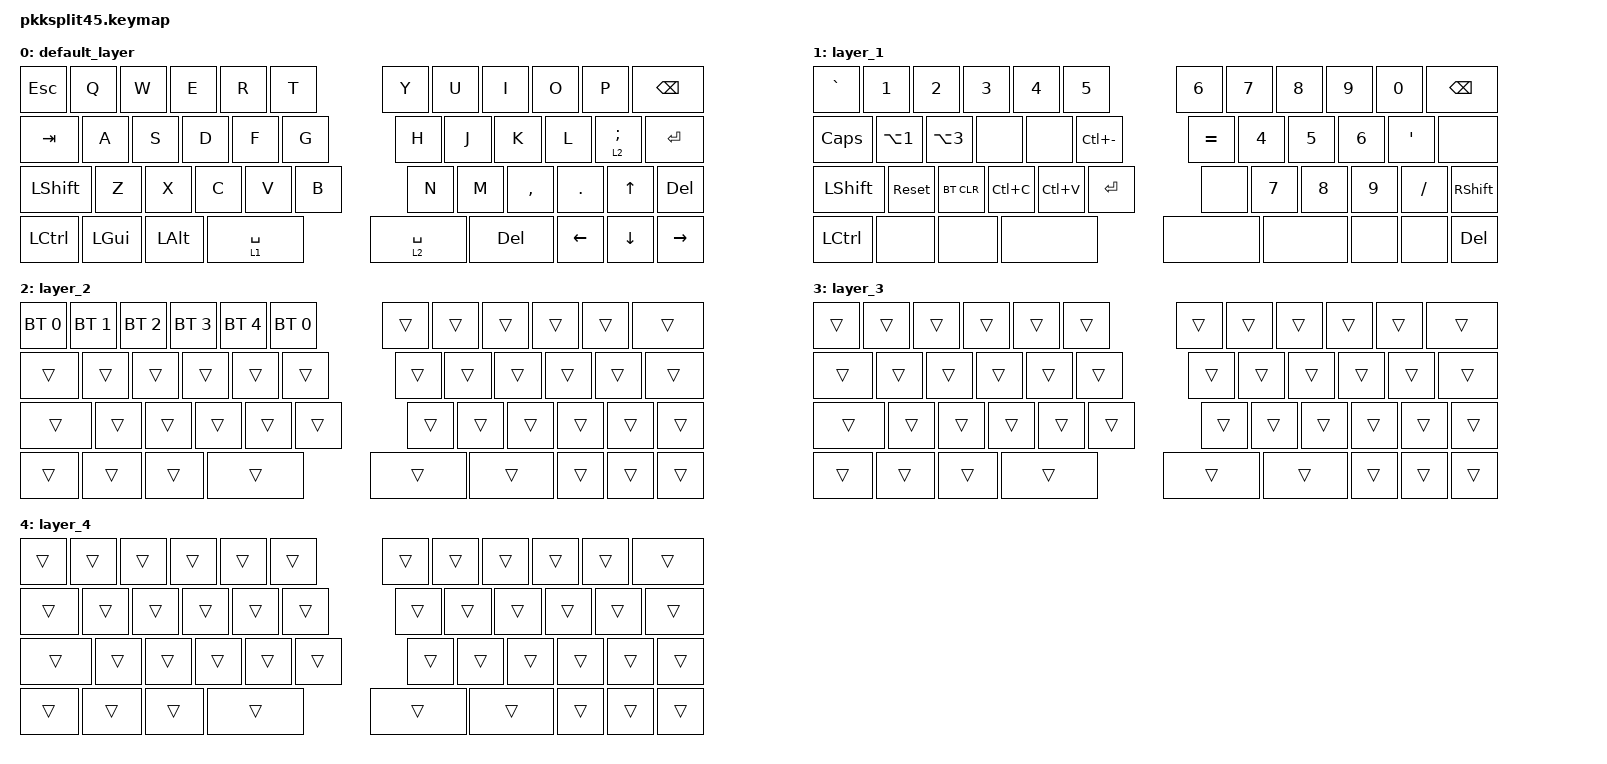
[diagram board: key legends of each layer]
#include <dt-bindings/zmk/mouse.h>
#include <behaviors.dtsi>
#include <dt-bindings/zmk/bt.h>
#include <dt-bindings/zmk/keys.h>

/ {
    combos {
        compatible = "zmk,combos";

        ctrlN {
            bindings = <&kp LC(N)>;
            key-positions = <13 14>;
        };

        desk {
            bindings = <&kp LG(D)>;
            key-positions = <14 15>;
        };

        wine {
            bindings = <&kp LG(E)>;
            key-positions = <15 16>;
        };

        altf4 {
            bindings = <&kp LA(F4)>;
            key-positions = <16 17>;
        };

        lockt {
            bindings = <&kp LG(L)>;
            key-positions = <28 29>;
        };

        capslock {
            bindings = <&kp CAPSLOCK>;
            key-positions = <12 13>;
        };

        del {
            bindings = <&kp DELETE>;
            key-positions = <30 31>;
        };
    };

    keymap {
        compatible = "zmk,keymap";

        default_layer {
            bindings = <
&kp ESCAPE  &kp Q     &kp W     &kp E        &kp R  &kp T  &kp Y        &kp U       &kp I           &kp O       &kp P            &kp BACKSPACE
&kp TAB     &kp A     &kp S     &kp D        &kp F  &kp G  &kp H        &kp J       &kp K           &kp L       &lt 2 SEMICOLON  &kp ENTER
&kp LSHFT   &kp Z     &kp X     &kp C        &kp V  &kp B  &kp N        &kp M       &kp COMMA       &kp PERIOD  &kp UP_ARROW     &kp DELETE
&kp LCTRL   &kp LGUI  &kp LALT  &lt 1 SPACE                &lt 2 SPACE  &kp DELETE  &kp LEFT_ARROW  &kp DOWN    &kp RIGHT
            >;
        };

        layer_1 {
            bindings = <
&kp GRAVE  &kp N1      &kp N2      &kp N3     &kp N4     &kp N5         &kp N6     &kp N7  &kp N8  &kp N9  &kp N0      &kp BSPC
&kp CAPS   &kp LA(N1)  &kp LA(N3)  &none      &none      &kp LC(MINUS)  &kp EQUAL  &kp N4  &kp N5  &kp N6  &kp APOS    &none
&kp LSHFT  &sys_reset  &bt BT_CLR  &kp LC(C)  &kp LC(V)  &kp ENTER      &none      &kp N7  &kp N8  &kp N9  &kp FSLH    &kp RSHFT
&kp LCTRL  &none       &none       &none                                &none      &none   &none   &none   &kp DELETE
            >;
        };

        layer_2 {
            bindings = <
&bt BT_SEL 0  &bt BT_SEL 1  &bt BT_SEL 2  &bt BT_SEL 3  &bt BT_SEL 4  &bt BT_SEL 0  &trans  &trans  &trans  &trans  &trans  &trans
&trans        &trans        &trans        &trans        &trans        &trans        &trans  &trans  &trans  &trans  &trans  &trans
&trans        &trans        &trans        &trans        &trans        &trans        &trans  &trans  &trans  &trans  &trans  &trans
&trans        &trans        &trans        &trans                                    &trans  &trans  &trans  &trans  &trans
            >;
        };

        layer_3 {
            bindings = <
&trans  &trans  &trans  &trans  &trans  &trans  &trans  &trans  &trans  &trans  &trans  &trans
&trans  &trans  &trans  &trans  &trans  &trans  &trans  &trans  &trans  &trans  &trans  &trans
&trans  &trans  &trans  &trans  &trans  &trans  &trans  &trans  &trans  &trans  &trans  &trans
&trans  &trans  &trans  &trans                  &trans  &trans  &trans  &trans  &trans
            >;
        };

        layer_4 {
            bindings = <
&trans  &trans  &trans  &trans  &trans  &trans  &trans  &trans  &trans  &trans  &trans  &trans
&trans  &trans  &trans  &trans  &trans  &trans  &trans  &trans  &trans  &trans  &trans  &trans
&trans  &trans  &trans  &trans  &trans  &trans  &trans  &trans  &trans  &trans  &trans  &trans
&trans  &trans  &trans  &trans                  &trans  &trans  &trans  &trans  &trans
            >;
        };
    };
};
